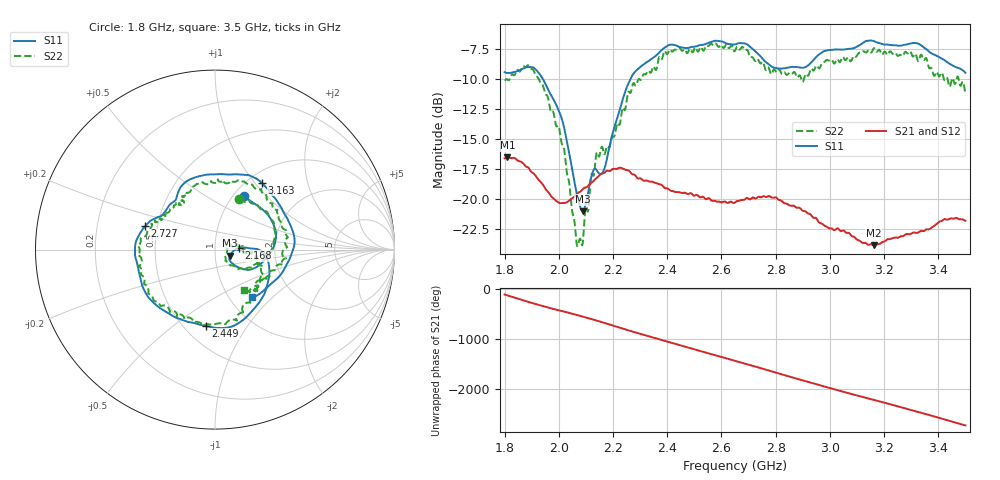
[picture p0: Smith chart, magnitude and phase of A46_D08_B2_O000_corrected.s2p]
! Created with skrf 1.9.0 (http://scikit-rf.org).
# Hz S RI R 50.0
!freq ReS11 ImS11 ReS21 ImS21 ReS12 ImS12 ReS22 ImS22
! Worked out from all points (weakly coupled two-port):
!   1601 points, 1.8 GHz to 3.5 GHz, reference 50 ohm
!   highest |S21| = -16.54 dB at 1.811 GHz (marker M1); lowest = -23.9 dB at 3.162 GHz (marker M2)
!   lowest |S11| = -21.0 dB at 2.088 GHz (marker M3), VSWR 1.19, Z = 58.8 - j4.04 ohm
!   |S11| at or under -10 dB: 1.941 GHz to 2.264 GHz (323 MHz wide, 15.4 % of centre)
!   |S22| runs from -24.0 to -7.0 dB; largest |S21 - S12| = 0.0029
!   S11 on the Smith chart (normalised r, x): 1.8 GHz: 1.12, +0.75; 2.168 GHz: 1.31, +0.02; 2.449 GHz: 0.64, -0.66; 2.727 GHz: 0.43, +0.13; 3.163 GHz: 1.15, +1.09; 3.5 GHz: 1.27, -0.76
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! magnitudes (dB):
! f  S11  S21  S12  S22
! 1.8 GHz  -9.4  -16.6  -16.6  -10.1
! 1.811 GHz  -9.5  -16.5  -16.5  -10.0
! 1.887 GHz  -9.0  -17.4  -17.4  -8.9
! 1.94 GHz  -10.0  -18.8  -18.8  -10.5
! 2.011 GHz  -13.4  -20.3  -20.3  -15.4
! 2.065 GHz  -19.4  -19.6  -19.6  -23.5
! 2.084 GHz  -20.9  -19.3  -19.3  -23.7
! 2.088 GHz  -21.0  -19.2  -19.2  -23.7
! 2.138 GHz  -17.6  -18.3  -18.3  -16.3
! 2.168 GHz  -17.5  -17.8  -17.8  -16.3
! 2.261 GHz  -10.1  -17.7  -17.7  -11.1
! 2.367 GHz  -7.9  -18.7  -18.7  -8.4
! 2.449 GHz  -7.4  -19.5  -19.5  -7.5
! 2.65 GHz  -7.1  -20.3  -20.3  -7.7
! 2.727 GHz  -7.7  -20.0  -20.0  -8.5
! 2.802 GHz  -9.1  -19.9  -19.9  -9.4
! 2.934 GHz  -8.6  -21.4  -21.4  -9.1
! 3.162 GHz  -6.8  -23.9  -23.8  -7.4
! 3.163 GHz  -6.8  -23.9  -23.8  -7.4
! 3.217 GHz  -7.2  -23.4  -23.4  -7.8
! 3.342 GHz  -7.3  -22.7  -22.7  -8.2
! 3.5 GHz  -9.5  -21.8  -21.8  -11.2
